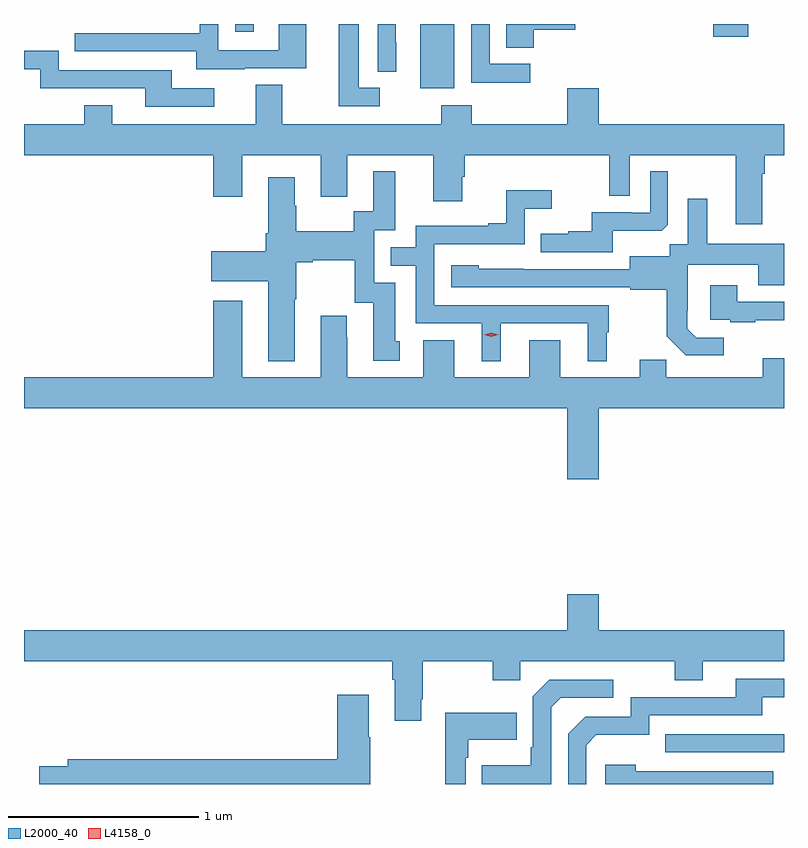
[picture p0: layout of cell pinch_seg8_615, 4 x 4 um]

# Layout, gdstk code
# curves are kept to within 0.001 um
import gdstk
lib = gdstk.Library(unit=1e-6, precision=1e-09)
def R(c, l, rs):  # rectangles x0, y0, x1, y1
    for r in rs: c.add(gdstk.rectangle(r[:2], r[2:], *l))
def P(c, l, *ps):  # polygons
    for p in ps: c.add(gdstk.Polygon(p, *l))
L2000_40 = (2000, 40)
L4158_0 = (4158, 0)

pinch_seg8_615 = lib.new_cell('pinch_seg8_615')
R(pinch_seg8_615, L2000_40, [(225.463,1098.705,226.088,1098.801), (224.174,1102.202,224.353,1102.539), (225.716,1102.473,225.899,1102.539), (223.2,1102.497,223.297,1102.539)])
P(pinch_seg8_615, L2000_40, [(223.96,1102.203),(223.849,1102.203),(223.849,1102.539),(223.745,1102.539),(223.745,1102.107),(223.96,1102.107)],
  [(223.249,1102.305),(223.573,1102.305),(223.573,1102.539),(223.428,1102.539),(223.428,1102.401),(223.11,1102.401),(223.11,1102.539),(223.014,1102.539),(223.014,1102.491),(222.355,1102.491),(222.355,1102.395),(222.995,1102.395),(222.995,1102.301),(223.249,1102.301)],
  [(224.046,1102.442),(224.045,1102.442),(224.045,1102.539),(223.95,1102.539),(223.95,1102.288),(224.046,1102.288)],
  [(224.752,1102.329),(224.538,1102.329),(224.538,1102.539),(224.442,1102.539),(224.442,1102.231),(224.752,1102.231)],
  [(224.771,1102.51),(224.989,1102.51),(224.989,1102.539),(224.627,1102.539),(224.627,1102.414),(224.771,1102.414)],
  [(223.09,1102.2),(222.865,1102.2),(222.865,1102.296),(222.27,1102.296),(222.27,1102.399),(222.088,1102.399),(222.088,1102.302),(222.174,1102.302),(222.174,1102.2),(222.725,1102.2),(222.725,1102.104),(223.09,1102.104)],
  [(225.973,1101.752),(225.986,1101.752),(225.986,1101.848),(226.088,1101.848),(226.088,1102.012),(225.112,1102.012),(225.112,1102.201),(224.948,1102.201),(224.948,1102.012),(224.444,1102.012),(224.444,1102.111),(224.284,1102.111),(224.284,1102.012),(223.447,1102.012),(223.447,1102.22),(223.307,1102.22),(223.307,1102.012),(222.553,1102.012),(222.553,1102.111),(222.406,1102.111),(222.406,1102.012),(222.088,1102.012),(222.088,1101.848),(223.085,1101.848),(223.085,1101.63),(223.237,1101.63),(223.237,1101.848),(223.649,1101.848),(223.649,1101.63),(223.789,1101.63),(223.789,1101.848),(224.243,1101.848),(224.243,1101.606),(224.395,1101.606),(224.395,1101.735),(224.408,1101.735),(224.408,1101.848),(225.168,1101.848),(225.168,1101.634),(225.276,1101.634),(225.276,1101.848),(225.833,1101.848),(225.833,1101.486),(225.973,1101.486)],
  [(223.513,1101.091),(223.521,1101.091),(223.521,1101.284),(223.609,1101.284),(223.609,1101.296),(223.829,1101.296),(223.829,1101.072),(223.925,1101.072),(223.925,1100.766),(224.065,1100.766),(224.065,1100.868),(224.041,1100.868),(224.041,1101.177),(223.932,1101.177),(223.932,1101.453),(224.041,1101.453),(224.041,1101.763),(223.925,1101.763),(223.925,1101.554),(223.824,1101.554),(223.824,1101.448),(223.521,1101.448),(223.521,1101.582),(223.513,1101.582),(223.513,1101.733),(223.373,1101.733),(223.373,1101.439),(223.361,1101.439),(223.361,1101.343),(223.074,1101.343),(223.074,1101.185),(223.373,1101.185),(223.373,1100.765),(223.513,1100.765)],
  [(225.187,1101.452),(225.445,1101.452),(225.477,1101.483),(225.477,1101.763),(225.384,1101.763),(225.384,1101.546),(225.284,1101.546),(225.284,1101.549),(225.077,1101.549),(225.077,1101.448),(224.953,1101.448),(224.953,1101.436),(224.809,1101.436),(224.809,1101.339),(225.187,1101.339)],
  [(224.596,1100.964),(225.056,1100.964),(225.056,1100.765),(225.154,1100.765),(225.154,1100.916),(225.166,1100.916),(225.166,1101.06),(224.247,1101.06),(224.247,1101.381),(224.724,1101.381),(224.724,1101.566),(224.866,1101.566),(224.866,1101.665),(224.626,1101.665),(224.626,1101.49),(224.531,1101.49),(224.531,1101.477),(224.151,1101.477),(224.151,1101.363),(224.017,1101.363),(224.017,1101.267),(224.151,1101.267),(224.151,1100.964),(224.498,1100.964),(224.498,1100.765),(224.596,1100.765)],
  [(225.772,1100.889),(225.627,1100.889),(225.58,1100.936),(225.58,1101.031),(225.582,1101.031),(225.582,1101.272),(225.953,1101.272),(225.953,1101.163),(226.088,1101.163),(226.088,1101.382),(225.685,1101.382),(225.685,1101.619),(225.581,1101.619),(225.581,1101.38),(225.486,1101.38),(225.486,1101.316),(225.275,1101.316),(225.275,1101.249),(224.481,1101.25),(224.481,1101.268),(224.337,1101.268),(224.337,1101.153),(225.279,1101.153),(225.279,1101.141),(225.471,1101.141),(225.471,1100.895),(225.571,1100.795),(225.772,1100.795)],
  [(225.937,1100.981),(226.088,1100.981),(226.088,1101.078),(225.841,1101.078),(225.841,1101.163),(225.701,1101.163),(225.701,1100.982),(225.805,1100.982),(225.805,1100.97),(225.937,1100.97)],
  [(225.112,1100.516),(226.088,1100.516),(226.088,1100.779),(225.977,1100.779),(225.977,1100.68),(225.467,1100.68),(225.467,1100.771),(225.329,1100.771),(225.329,1100.68),(224.911,1100.68),(224.911,1100.875),(224.747,1100.875),(224.747,1100.68),(224.353,1100.68),(224.353,1100.875),(224.189,1100.875),(224.189,1100.68),(223.789,1100.68),(223.789,1100.891),(223.786,1100.891),(223.786,1101.004),(223.649,1101.004),(223.649,1100.68),(223.237,1100.68),(223.237,1101.082),(223.085,1101.082),(223.085,1100.68),(222.088,1100.68),(222.088,1100.516),(224.948,1100.516),(224.948,1100.142),(225.112,1100.142)],
  [(224.179,1098.985),(224.187,1098.985),(224.187,1099.184),(224.554,1099.184),(224.554,1099.085),(224.7,1099.085),(224.7,1099.184),(225.514,1099.184),(225.514,1099.085),(225.661,1099.085),(225.661,1099.184),(226.088,1099.184),(226.088,1099.348),(225.112,1099.348),(225.112,1099.537),(224.948,1099.537),(224.948,1099.348),(222.088,1099.348),(222.088,1099.184),(224.027,1099.184),(224.027,1099.088),(224.039,1099.088),(224.039,1098.873),(224.179,1098.873)],
  [(225.048,1098.744),(225.101,1098.797),(225.378,1098.797),(225.378,1098.9),(225.973,1098.9),(225.973,1098.996),(226.088,1098.996),(226.088,1099.092),(225.833,1099.092),(225.833,1098.996),(225.282,1098.996),(225.282,1098.894),(225.042,1098.894),(224.952,1098.804),(224.952,1098.539),(225.048,1098.539)],
  [(224.862,1098.942),(224.913,1098.993),(225.19,1098.993),(225.19,1099.089),(224.853,1099.089),(224.766,1099.002),(224.766,1098.733),(224.754,1098.733),(224.754,1098.637),(224.497,1098.637),(224.497,1098.539),(224.862,1098.539)],
  [(223.911,1098.785),(223.903,1098.785),(223.903,1099.009),(223.736,1099.009),(223.736,1098.668),(222.317,1098.668),(222.317,1098.632),(222.168,1098.632),(222.168,1098.539),(223.911,1098.539)],
  [(224.412,1098.677),(224.425,1098.677),(224.425,1098.773),(224.681,1098.773),(224.681,1098.913),(224.304,1098.913),(224.304,1098.539),(224.412,1098.539)],
  [(226.032,1098.606),(225.308,1098.606),(225.308,1098.64),(225.147,1098.64),(225.147,1098.539),(226.032,1098.539)])
P(pinch_seg8_615, L4158_0, [(224.547,1100.894),(224.511,1100.904),(224.511,1100.904),(224.511,1100.904),(224.547,1100.914),(224.583,1100.904),(224.583,1100.904),(224.583,1100.904)])

lib.write_gds('pinch_seg8_615.gds')
